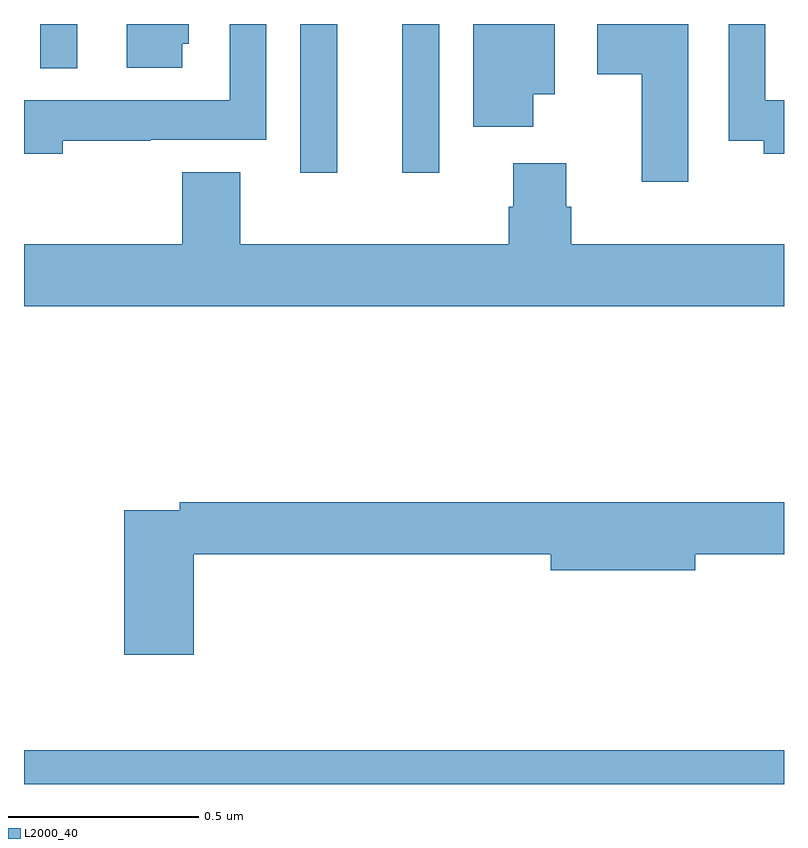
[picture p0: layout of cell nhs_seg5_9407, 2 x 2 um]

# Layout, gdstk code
import gdstk
lib = gdstk.Library(unit=1e-6, precision=1e-09)
def R(c, l, rs):  # rectangles x0, y0, x1, y1
    for r in rs: c.add(gdstk.rectangle(r[:2], r[2:], *l))
def P(c, l, *ps):  # polygons
    for p in ps: c.add(gdstk.Polygon(p, *l))
L2000_40 = (2000, 40)

nhs_seg5_9407 = lib.new_cell('nhs_seg5_9407')
R(nhs_seg5_9407, L2000_40, [(233,892.799,235,892.888), (233.727,894.408,233.824,894.799), (233.996,894.408,234.093,894.799), (233.043,894.683,233.14,894.799)])
P(nhs_seg5_9407, L2000_40, [(233.416,894.747),(233.434,894.747),(233.434,894.799),(233.27,894.799),(233.27,894.684),(233.416,894.684)],
  [(233.102,894.492),(233.333,894.492),(233.333,894.494),(233.637,894.494),(233.637,894.799),(233.541,894.799),(233.541,894.598),(233,894.598),(233,894.458),(233.102,894.458)],
  [(235,894.598),(234.951,894.598),(234.951,894.799),(234.855,894.799),(234.855,894.492),(234.947,894.492),(234.947,894.458),(235,894.458)],
  [(234.748,894.799),(234.509,894.799),(234.509,894.667),(234.626,894.667),(234.626,894.384),(234.748,894.384)],
  [(234.34,894.614),(234.397,894.614),(234.397,894.799),(234.182,894.799),(234.182,894.528),(234.34,894.528)],
  [(235,894.22),(234.44,894.22),(234.44,894.318),(234.427,894.318),(234.427,894.433),(234.287,894.433),(234.287,894.318),(234.275,894.318),(234.275,894.22),(233.569,894.22),(233.569,894.409),(233.417,894.409),(233.417,894.22),(233,894.22),(233,894.056),(235,894.056)],
  [(233.447,893.404),(234.386,893.404),(234.386,893.362),(234.766,893.362),(234.766,893.404),(235,893.404),(235,893.54),(233.41,893.54),(233.41,893.52),(233.264,893.52),(233.264,893.139),(233.447,893.139)])

lib.write_gds('nhs_seg5_9407.gds')
